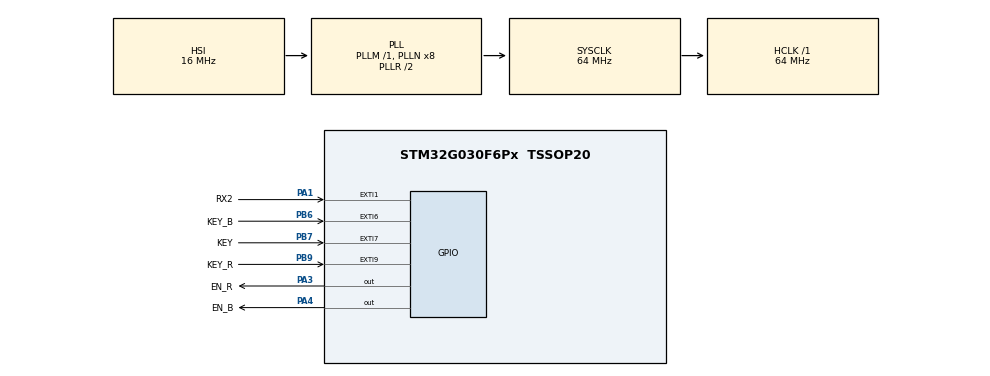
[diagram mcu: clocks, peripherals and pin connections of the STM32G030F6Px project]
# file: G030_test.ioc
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Mcu.Family=STM32G0
Mcu.Name=STM32G030F6Px
Mcu.Package=TSSOP20
NVIC.EXTI0_1_IRQn=true\:0\:0\:false\:false\:true\:true\:true\:true
NVIC.EXTI4_15_IRQn=true\:0\:0\:false\:true\:true\:1\:true\:true\:true
PA1.GPIO_Label=RX2
PA1.Signal=GPXTI1
PA13.Mode=Serial_Wire
PA13.Signal=SYS_SWDIO
PA14-BOOT0.Mode=Serial_Wire
PA14-BOOT0.Signal=SYS_SWCLK
PA14-BOOT0__PA15.StandardMode=true
PA3.GPIO_Label=EN_R
PA3.GPIO_PuPd=GPIO_PULLDOWN
PA3.Signal=GPIO_Output
PA4.GPIO_Label=EN_B
PA4.GPIO_PuPd=GPIO_PULLDOWN
PA4.Signal=GPIO_Output
PB0__PB1__PB2__PA8.StandardMode=true
PB3__PB4__PB5__PB6.StandardMode=true
PB6.GPIO_Label=KEY_B
PB6.GPIO_ModeDefaultEXTI=GPIO_MODE_IT_FALLING
PB6.Signal=GPXTI6
PB7.GPIO_Label=KEY
PB7.GPIO_ModeDefaultEXTI=GPIO_MODE_IT_FALLING
PB7.Signal=GPXTI7
PB7__PB8.StandardMode=true
PB9.GPIO_Label=KEY_R
PB9.GPIO_ModeDefaultEXTI=GPIO_MODE_IT_FALLING
PB9.Signal=GPXTI9
PC14-OSC32_IN\ (PC14)__PB9.StandardMode=true
ProjectManager.HeapSize=0x200
ProjectManager.StackSize=0x400
ProjectManager.TargetToolchain=MDK-ARM V5
RCC.ADCFreq_Value=64000000
RCC.AHBFreq_Value=64000000
RCC.CortexFreq_Value=64000000
RCC.EXTERNAL_CLOCK_VALUE=12288000
RCC.HCLKFreq_Value=64000000
RCC.HSE_VALUE=8000000
RCC.HSI_VALUE=16000000
RCC.LSE_VALUE=32768
RCC.SYSCLKFreq_VALUE=64000000
RCC.SYSCLKSource=RCC_SYSCLKSOURCE_PLLCLK
RCC.VCOOutputFreq_Value=128000000
board=custom

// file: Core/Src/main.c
/* USER CODE BEGIN Header */
/**
  ******************************************************************************
  * @file           : main.c
  * @brief          : Main program body
  ******************************************************************************
  * @attention
  *
  * Copyright (c) 2023 STMicroelectronics.
  * All rights reserved.
  *
  * This software is licensed under terms that can be found in the LICENSE file
  * in the root directory of this software component.
  * If no LICENSE file comes with this software, it is provided AS-IS.
  *
  ******************************************************************************
  */
/* USER CODE END Header */
#include "main.h"

void SystemClock_Config(void);
static void MX_GPIO_Init(void);
static void MX_NVIC_Init(void);

/* USER CODE BEGIN 0 */
int mode = 0;
#define gap_ms 100
/*
mode == 0:�رյƹ�
mode == 1:��Ƴ���
mode == 2:���Ƴ���
mode == 3:�����˸
mode == 4:������˸
*/

void HAL_GPIO_EXTI_Falling_Callback(uint16_t GPIO_Pin)
{
	if(GPIO_Pin == KEY_R_Pin){
		mode = 1;
	}
	if(GPIO_Pin == KEY_Pin){
		mode = 0;
	}
	if(GPIO_Pin == KEY_B_Pin){
		mode = 2;
	}

}

void HAL_GPIO_EXTI_Rising_Callback(uint16_t GPIO_Pin)
{
	if(GPIO_Pin == RX2_Pin){
		if(mode == 1){
			mode = 3;
		}
		else if(mode == 2){
			mode = 4;
		}
	}

}

/* USER CODE END 0 */

int main(void)
{

  /* MCU Configuration--------------------------------------------------------*/

  /* Reset of all peripherals, Initializes the Flash interface and the Systick. */
  HAL_Init();

  /* Configure the system clock */
  SystemClock_Config();

  /* Initialize all configured peripherals */
  MX_GPIO_Init();

  /* Initialize interrupts */
  MX_NVIC_Init();

  /* Infinite loop */
  while (1)
  {

    /* USER CODE BEGIN 3 */
	  if(mode == 0){
		  HAL_GPIO_WritePin(EN_R_GPIO_Port,EN_R_Pin,GPIO_PIN_RESET);
		  HAL_GPIO_WritePin(EN_B_GPIO_Port,EN_B_Pin,GPIO_PIN_RESET);
	  }
	  if(mode == 1){
		  HAL_GPIO_WritePin(EN_R_GPIO_Port,EN_R_Pin,GPIO_PIN_SET);
		  HAL_GPIO_WritePin(EN_B_GPIO_Port,EN_B_Pin,GPIO_PIN_RESET);
	  }
	  if(mode == 2){
		  HAL_GPIO_WritePin(EN_R_GPIO_Port,EN_R_Pin,GPIO_PIN_RESET);
		  HAL_GPIO_WritePin(EN_B_GPIO_Port,EN_B_Pin,GPIO_PIN_SET);
	  }
	  if(mode == 3){
		  HAL_GPIO_WritePin(EN_R_GPIO_Port,EN_R_Pin,GPIO_PIN_RESET);
		  HAL_GPIO_WritePin(EN_B_GPIO_Port,EN_B_Pin,GPIO_PIN_RESET);
		  HAL_Delay(gap_ms);
		  HAL_GPIO_WritePin(EN_R_GPIO_Port,EN_R_Pin,GPIO_PIN_SET);
		  HAL_Delay(gap_ms);
		  HAL_GPIO_WritePin(EN_R_GPIO_Port,EN_R_Pin,GPIO_PIN_RESET);
		  HAL_Delay(gap_ms);
		  HAL_GPIO_WritePin(EN_R_GPIO_Port,EN_R_Pin,GPIO_PIN_SET);
		  HAL_Delay(gap_ms);
		  HAL_GPIO_WritePin(EN_R_GPIO_Port,EN_R_Pin,GPIO_PIN_RESET);
		  mode = 1;

	  }
	  if(mode == 4){
		  HAL_GPIO_WritePin(EN_R_GPIO_Port,EN_R_Pin,GPIO_PIN_RESET);
		  HAL_GPIO_WritePin(EN_B_GPIO_Port,EN_B_Pin,GPIO_PIN_RESET);
		  HAL_Delay(gap_ms);
		  HAL_GPIO_WritePin(EN_B_GPIO_Port,EN_B_Pin,GPIO_PIN_SET);
		  HAL_Delay(gap_ms);
		  HAL_GPIO_WritePin(EN_B_GPIO_Port,EN_B_Pin,GPIO_PIN_RESET);
		  HAL_Delay(gap_ms);
		  HAL_GPIO_WritePin(EN_B_GPIO_Port,EN_B_Pin,GPIO_PIN_SET);
		  HAL_Delay(gap_ms);
		  HAL_GPIO_WritePin(EN_B_GPIO_Port,EN_B_Pin,GPIO_PIN_RESET);
		  mode = 2;

		}

		if(mode == 5)
		{
		  HAL_GPIO_WritePin(EN_B_GPIO_Port,EN_B_Pin,GPIO_PIN_SET);
		  HAL_Delay(50);
		  HAL_GPIO_WritePin(EN_B_GPIO_Port,EN_B_Pin,GPIO_PIN_RESET);
		  HAL_Delay(50);
		  HAL_GPIO_WritePin(EN_B_GPIO_Port,EN_R_Pin,GPIO_PIN_SET);
		  HAL_Delay(50);
		  HAL_GPIO_WritePin(EN_B_GPIO_Port,EN_R_Pin,GPIO_PIN_RESET);
		  HAL_Delay(50);
					  HAL_GPIO_WritePin(EN_B_GPIO_Port,EN_B_Pin,GPIO_PIN_SET);
		  HAL_Delay(50);
		  HAL_GPIO_WritePin(EN_B_GPIO_Port,EN_B_Pin,GPIO_PIN_RESET);
		  HAL_Delay(50);
		  HAL_GPIO_WritePin(EN_B_GPIO_Port,EN_R_Pin,GPIO_PIN_SET);
		  HAL_Delay(50);
		  HAL_GPIO_WritePin(EN_B_GPIO_Port,EN_R_Pin,GPIO_PIN_RESET);
		  HAL_Delay(50);
					  HAL_GPIO_WritePin(EN_B_GPIO_Port,EN_B_Pin,GPIO_PIN_SET);
		  HAL_Delay(50);
		  HAL_GPIO_WritePin(EN_B_GPIO_Port,EN_B_Pin,GPIO_PIN_RESET);
		  HAL_Delay(50);
		  HAL_GPIO_WritePin(EN_B_GPIO_Port,EN_R_Pin,GPIO_PIN_SET);
		  HAL_Delay(50);
		  HAL_GPIO_WritePin(EN_B_GPIO_Port,EN_R_Pin,GPIO_PIN_RESET);
		  HAL_Delay(50);
		  		  HAL_GPIO_WritePin(EN_B_GPIO_Port,EN_B_Pin,GPIO_PIN_SET);
		  HAL_Delay(50);
		  HAL_GPIO_WritePin(EN_B_GPIO_Port,EN_B_Pin,GPIO_PIN_RESET);
		  HAL_Delay(50);
		  HAL_GPIO_WritePin(EN_B_GPIO_Port,EN_R_Pin,GPIO_PIN_SET);
		  HAL_Delay(50);
		  HAL_GPIO_WritePin(EN_B_GPIO_Port,EN_R_Pin,GPIO_PIN_RESET);
		  HAL_Delay(50);
		  		  HAL_GPIO_WritePin(EN_B_GPIO_Port,EN_B_Pin,GPIO_PIN_SET);
		  HAL_Delay(50);
		  HAL_GPIO_WritePin(EN_B_GPIO_Port,EN_B_Pin,GPIO_PIN_RESET);
		  HAL_Delay(50);
		  HAL_GPIO_WritePin(EN_B_GPIO_Port,EN_R_Pin,GPIO_PIN_SET);
		  HAL_Delay(50);
		  HAL_GPIO_WritePin(EN_B_GPIO_Port,EN_R_Pin,GPIO_PIN_RESET);
		  HAL_Delay(50);
		  		  HAL_GPIO_WritePin(EN_B_GPIO_Port,EN_B_Pin,GPIO_PIN_SET);
		  HAL_Delay(50);
		  HAL_GPIO_WritePin(EN_B_GPIO_Port,EN_B_Pin,GPIO_PIN_RESET);
		  HAL_Delay(50);
		  HAL_GPIO_WritePin(EN_B_GPIO_Port,EN_R_Pin,GPIO_PIN_SET);
		  HAL_Delay(50);
		  HAL_GPIO_WritePin(EN_B_GPIO_Port,EN_R_Pin,GPIO_PIN_RESET);
		  HAL_Delay(50);

		  mode = 0;
	  }

	  if(HAL_GPIO_ReadPin(GPIOB,KEY_B_Pin) == GPIO_PIN_RESET && HAL_GPIO_ReadPin(GPIOB,KEY_R_Pin) == GPIO_PIN_RESET && mode != 5)
	  {

			mode = 5;
	  }
  }

  /* USER CODE END 3 */
}

void SystemClock_Config(void)
{
  RCC_OscInitTypeDef RCC_OscInitStruct = {0};
  RCC_ClkInitTypeDef RCC_ClkInitStruct = {0};

  /** Configure the main internal regulator output voltage
  */
  HAL_PWREx_ControlVoltageScaling(PWR_REGULATOR_VOLTAGE_SCALE1);

  /** Initializes the RCC Oscillators according to the specified parameters
  * in the RCC_OscInitTypeDef structure.
  */
  RCC_OscInitStruct.OscillatorType = RCC_OSCILLATORTYPE_HSI;
  RCC_OscInitStruct.HSIState = RCC_HSI_ON;
  RCC_OscInitStruct.HSIDiv = RCC_HSI_DIV1;
  RCC_OscInitStruct.HSICalibrationValue = RCC_HSICALIBRATION_DEFAULT;
  RCC_OscInitStruct.PLL.PLLState = RCC_PLL_ON;
  RCC_OscInitStruct.PLL.PLLSource = RCC_PLLSOURCE_HSI;
  RCC_OscInitStruct.PLL.PLLM = RCC_PLLM_DIV1;
  RCC_OscInitStruct.PLL.PLLN = 8;
  RCC_OscInitStruct.PLL.PLLP = RCC_PLLP_DIV2;
  RCC_OscInitStruct.PLL.PLLR = RCC_PLLR_DIV2;
  if (HAL_RCC_OscConfig(&RCC_OscInitStruct) != HAL_OK)
  {
    Error_Handler();
  }

  /** Initializes the CPU, AHB and APB buses clocks
  */
  RCC_ClkInitStruct.ClockType = RCC_CLOCKTYPE_HCLK|RCC_CLOCKTYPE_SYSCLK
                              |RCC_CLOCKTYPE_PCLK1;
  RCC_ClkInitStruct.SYSCLKSource = RCC_SYSCLKSOURCE_PLLCLK;
  RCC_ClkInitStruct.AHBCLKDivider = RCC_SYSCLK_DIV1;
  RCC_ClkInitStruct.APB1CLKDivider = RCC_HCLK_DIV1;

  if (HAL_RCC_ClockConfig(&RCC_ClkInitStruct, FLASH_LATENCY_2) != HAL_OK)
  {
    Error_Handler();
  }
}

/**
  * @brief NVIC Configuration.
  * @retval None
  */
static void MX_NVIC_Init(void)
{
  /* EXTI4_15_IRQn interrupt configuration */
  HAL_NVIC_SetPriority(EXTI4_15_IRQn, 0, 0);
  HAL_NVIC_EnableIRQ(EXTI4_15_IRQn);
}

static void MX_GPIO_Init(void)
{
  GPIO_InitTypeDef GPIO_InitStruct = {0};

  /* GPIO Ports Clock Enable */
  __HAL_RCC_GPIOB_CLK_ENABLE();
  __HAL_RCC_GPIOA_CLK_ENABLE();

  /*Configure GPIO pin Output Level */
  HAL_GPIO_WritePin(GPIOA, EN_R_Pin|EN_B_Pin, GPIO_PIN_RESET);

  /*Configure GPIO pins : KEY_Pin KEY_R_Pin KEY_B_Pin */
  GPIO_InitStruct.Pin = KEY_Pin|KEY_R_Pin|KEY_B_Pin;
  GPIO_InitStruct.Mode = GPIO_MODE_IT_FALLING;
  GPIO_InitStruct.Pull = GPIO_NOPULL;
  HAL_GPIO_Init(GPIOB, &GPIO_InitStruct);

  /*Configure GPIO pin : RX2_Pin */
  GPIO_InitStruct.Pin = RX2_Pin;
  GPIO_InitStruct.Mode = GPIO_MODE_IT_RISING;
  GPIO_InitStruct.Pull = GPIO_NOPULL;
  HAL_GPIO_Init(RX2_GPIO_Port, &GPIO_InitStruct);

  /*Configure GPIO pins : EN_R_Pin EN_B_Pin */
  GPIO_InitStruct.Pin = EN_R_Pin|EN_B_Pin;
  GPIO_InitStruct.Mode = GPIO_MODE_OUTPUT_PP;
  GPIO_InitStruct.Pull = GPIO_PULLDOWN;
  GPIO_InitStruct.Speed = GPIO_SPEED_FREQ_LOW;
  HAL_GPIO_Init(GPIOA, &GPIO_InitStruct);

  /* EXTI interrupt init*/
  HAL_NVIC_SetPriority(EXTI0_1_IRQn, 0, 0);
  HAL_NVIC_EnableIRQ(EXTI0_1_IRQn);

}

void Error_Handler(void)
{
  __disable_irq();
  while (1)
  {
  }
}
